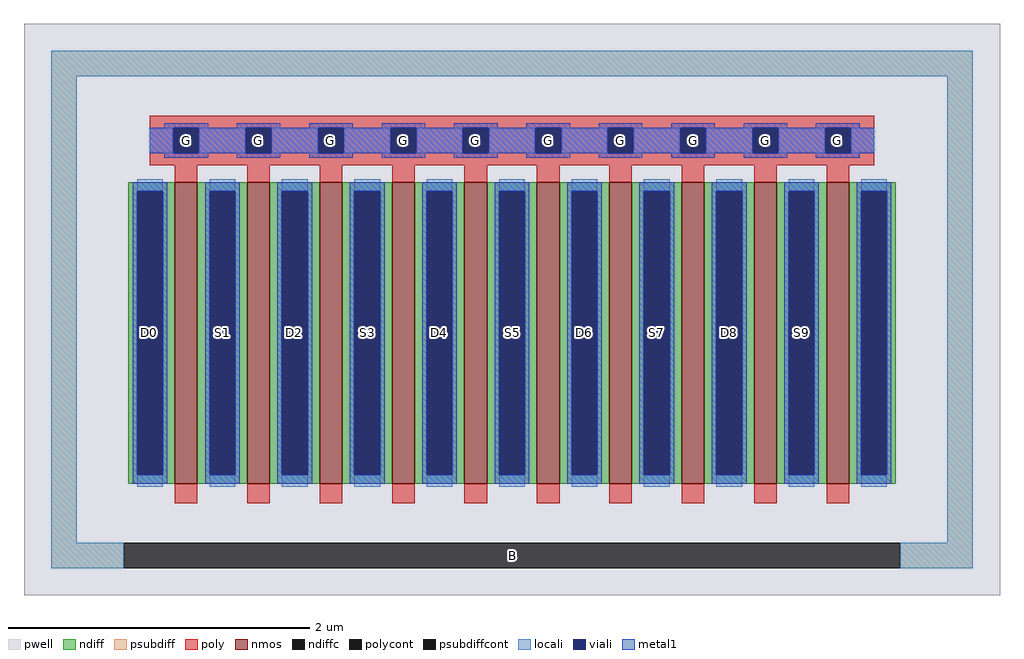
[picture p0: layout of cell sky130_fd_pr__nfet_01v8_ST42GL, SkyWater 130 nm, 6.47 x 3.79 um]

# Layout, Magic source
magic
tech sky130A
magscale 1 2
<< pwell >>
rect -647 -379 647 379
<< nmos >>
rect -447 -231 -417 169
rect -351 -231 -321 169
rect -255 -231 -225 169
rect -159 -231 -129 169
rect -63 -231 -33 169
rect 33 -231 63 169
rect 129 -231 159 169
rect 225 -231 255 169
rect 321 -231 351 169
rect 417 -231 447 169
<< ndiff >>
rect -509 157 -447 169
rect -509 -219 -497 157
rect -463 -219 -447 157
rect -509 -231 -447 -219
rect -417 157 -351 169
rect -417 -219 -401 157
rect -367 -219 -351 157
rect -417 -231 -351 -219
rect -321 157 -255 169
rect -321 -219 -305 157
rect -271 -219 -255 157
rect -321 -231 -255 -219
rect -225 157 -159 169
rect -225 -219 -209 157
rect -175 -219 -159 157
rect -225 -231 -159 -219
rect -129 157 -63 169
rect -129 -219 -113 157
rect -79 -219 -63 157
rect -129 -231 -63 -219
rect -33 157 33 169
rect -33 -219 -17 157
rect 17 -219 33 157
rect -33 -231 33 -219
rect 63 157 129 169
rect 63 -219 79 157
rect 113 -219 129 157
rect 63 -231 129 -219
rect 159 157 225 169
rect 159 -219 175 157
rect 209 -219 225 157
rect 159 -231 225 -219
rect 255 157 321 169
rect 255 -219 271 157
rect 305 -219 321 157
rect 255 -231 321 -219
rect 351 157 417 169
rect 351 -219 367 157
rect 401 -219 417 157
rect 351 -231 417 -219
rect 447 157 509 169
rect 447 -219 463 157
rect 497 -219 509 157
rect 447 -231 509 -219
<< ndiffc >>
rect -497 -219 -463 157
rect -401 -219 -367 157
rect -305 -219 -271 157
rect -209 -219 -175 157
rect -113 -219 -79 157
rect -17 -219 17 157
rect 79 -219 113 157
rect 175 -219 209 157
rect 271 -219 305 157
rect 367 -219 401 157
rect 463 -219 497 157
<< psubdiff >>
rect -611 309 611 343
rect -611 -309 -577 309
rect 577 -309 611 309
rect -611 -343 -515 -309
rect 515 -343 611 -309
<< psubdiffcont >>
rect -515 -343 515 -309
<< poly >>
rect -480 241 480 257
rect -480 207 -449 241
rect -415 207 -353 241
rect -319 207 -257 241
rect -223 207 -161 241
rect -127 207 -65 241
rect -31 207 31 241
rect 65 207 127 241
rect 161 207 223 241
rect 257 207 319 241
rect 353 207 415 241
rect 449 207 480 241
rect -480 191 480 207
rect -447 169 -417 191
rect -351 169 -321 191
rect -255 169 -225 191
rect -159 169 -129 191
rect -63 169 -33 191
rect 33 169 63 191
rect 129 169 159 191
rect 225 169 255 191
rect 321 169 351 191
rect 417 169 447 191
rect -447 -257 -417 -231
rect -351 -257 -321 -231
rect -255 -257 -225 -231
rect -159 -257 -129 -231
rect -63 -257 -33 -231
rect 33 -257 63 -231
rect 129 -257 159 -231
rect 225 -257 255 -231
rect 321 -257 351 -231
rect 417 -257 447 -231
<< polycont >>
rect -449 207 -415 241
rect -353 207 -319 241
rect -257 207 -223 241
rect -161 207 -127 241
rect -65 207 -31 241
rect 31 207 65 241
rect 127 207 161 241
rect 223 207 257 241
rect 319 207 353 241
rect 415 207 449 241
<< locali >>
rect -611 309 611 343
rect -611 -309 -577 309
rect -480 207 -449 241
rect -415 207 -353 241
rect -319 207 -257 241
rect -223 207 -161 241
rect -127 207 -65 241
rect -31 207 31 241
rect 65 207 127 241
rect 161 207 223 241
rect 257 207 319 241
rect 353 207 415 241
rect 449 207 480 241
rect -497 157 -463 173
rect -497 -235 -463 -219
rect -401 157 -367 173
rect -401 -235 -367 -219
rect -305 157 -271 173
rect -305 -235 -271 -219
rect -209 157 -175 173
rect -209 -235 -175 -219
rect -113 157 -79 173
rect -113 -235 -79 -219
rect -17 157 17 173
rect -17 -235 17 -219
rect 79 157 113 173
rect 79 -235 113 -219
rect 175 157 209 173
rect 175 -235 209 -219
rect 271 157 305 173
rect 271 -235 305 -219
rect 367 157 401 173
rect 367 -235 401 -219
rect 463 157 497 173
rect 463 -235 497 -219
rect 577 -309 611 309
rect -611 -343 -515 -309
rect 515 -343 611 -309
<< viali >>
rect -449 207 -415 241
rect -353 207 -319 241
rect -257 207 -223 241
rect -161 207 -127 241
rect -65 207 -31 241
rect 31 207 65 241
rect 127 207 161 241
rect 223 207 257 241
rect 319 207 353 241
rect 415 207 449 241
rect -497 -219 -463 157
rect -401 -219 -367 157
rect -305 -219 -271 157
rect -209 -219 -175 157
rect -113 -219 -79 157
rect -17 -219 17 157
rect 79 -219 113 157
rect 175 -219 209 157
rect 271 -219 305 157
rect 367 -219 401 157
rect 463 -219 497 157
<< metal1 >>
rect -461 241 -403 247
rect -365 241 -307 247
rect -269 241 -211 247
rect -173 241 -115 247
rect -77 241 -19 247
rect 19 241 77 247
rect 115 241 173 247
rect 211 241 269 247
rect 307 241 365 247
rect 403 241 461 247
rect -480 207 -449 241
rect -415 207 -353 241
rect -319 207 -257 241
rect -223 207 -161 241
rect -127 207 -65 241
rect -31 207 31 241
rect 65 207 127 241
rect 161 207 223 241
rect 257 207 319 241
rect 353 207 415 241
rect 449 207 480 241
rect -461 201 -403 207
rect -365 201 -307 207
rect -269 201 -211 207
rect -173 201 -115 207
rect -77 201 -19 207
rect 19 201 77 207
rect 115 201 173 207
rect 211 201 269 207
rect 307 201 365 207
rect 403 201 461 207
rect -503 157 -457 169
rect -503 -219 -497 157
rect -463 -219 -457 157
rect -503 -231 -457 -219
rect -407 157 -361 169
rect -407 -219 -401 157
rect -367 -219 -361 157
rect -407 -231 -361 -219
rect -311 157 -265 169
rect -311 -219 -305 157
rect -271 -219 -265 157
rect -311 -231 -265 -219
rect -215 157 -169 169
rect -215 -219 -209 157
rect -175 -219 -169 157
rect -215 -231 -169 -219
rect -119 157 -73 169
rect -119 -219 -113 157
rect -79 -219 -73 157
rect -119 -231 -73 -219
rect -23 157 23 169
rect -23 -219 -17 157
rect 17 -219 23 157
rect -23 -231 23 -219
rect 73 157 119 169
rect 73 -219 79 157
rect 113 -219 119 157
rect 73 -231 119 -219
rect 169 157 215 169
rect 169 -219 175 157
rect 209 -219 215 157
rect 169 -231 215 -219
rect 265 157 311 169
rect 265 -219 271 157
rect 305 -219 311 157
rect 265 -231 311 -219
rect 361 157 407 169
rect 361 -219 367 157
rect 401 -219 407 157
rect 361 -231 407 -219
rect 457 157 503 169
rect 457 -219 463 157
rect 497 -219 503 157
rect 457 -231 503 -219
<< labels >>
rlabel psubdiffcont 0 -326 0 -326 0 B
port 1 nsew
rlabel ndiffc -480 -31 -480 -31 0 D0
port 2 nsew
rlabel polycont -432 224 -432 224 0 G
port 3 nsew
rlabel ndiffc -384 -31 -384 -31 0 S1
port 4 nsew
rlabel polycont -336 224 -336 224 0 G
port 3 nsew
rlabel ndiffc -288 -31 -288 -31 0 D2
port 5 nsew
rlabel polycont -240 224 -240 224 0 G
port 3 nsew
rlabel ndiffc -192 -31 -192 -31 0 S3
port 6 nsew
rlabel polycont -144 224 -144 224 0 G
port 3 nsew
rlabel ndiffc -96 -31 -96 -31 0 D4
port 7 nsew
rlabel polycont -48 224 -48 224 0 G
port 3 nsew
rlabel ndiffc 0 -31 0 -31 0 S5
port 8 nsew
rlabel polycont 48 224 48 224 0 G
port 3 nsew
rlabel ndiffc 96 -31 96 -31 0 D6
port 9 nsew
rlabel polycont 144 224 144 224 0 G
port 3 nsew
rlabel ndiffc 192 -31 192 -31 0 S7
port 10 nsew
rlabel polycont 240 224 240 224 0 G
port 3 nsew
rlabel ndiffc 288 -31 288 -31 0 D8
port 11 nsew
rlabel polycont 336 224 336 224 0 G
port 3 nsew
rlabel ndiffc 384 -31 384 -31 0 S9
port 12 nsew
rlabel polycont 432 224 432 224 0 G
port 3 nsew
<< properties >>
string FIXED_BBOX -594 -326 594 326
string gencell sky130_fd_pr__nfet_01v8
string library sky130
string parameters w 2 l 0.150 m 1 nf 10 diffcov 100 polycov 100 guard 1 glc 0 grc 0 gtc 0 gbc 1 tbcov 100 rlcov 100 topc 1 botc 0 poverlap 0 doverlap 1 lmin 0.15 wmin 0.42 class mosfet compatible {sky130_fd_pr__nfet_01v8 sky130_fd_pr__nfet_01v8_lvt  sky130_fd_bs_flash__special_sonosfet_star  sky130_fd_pr__nfet_g5v0d10v5 sky130_fd_pr__nfet_05v0_nvt  sky130_fd_pr__nfet_03v3_nvt} full_metal 1 conn_gates 1 viasrc 100 viadrn 100 viagate 100 viagb 0 viagr 0 viagl 0 viagt 0 doports 1
<< end >>
